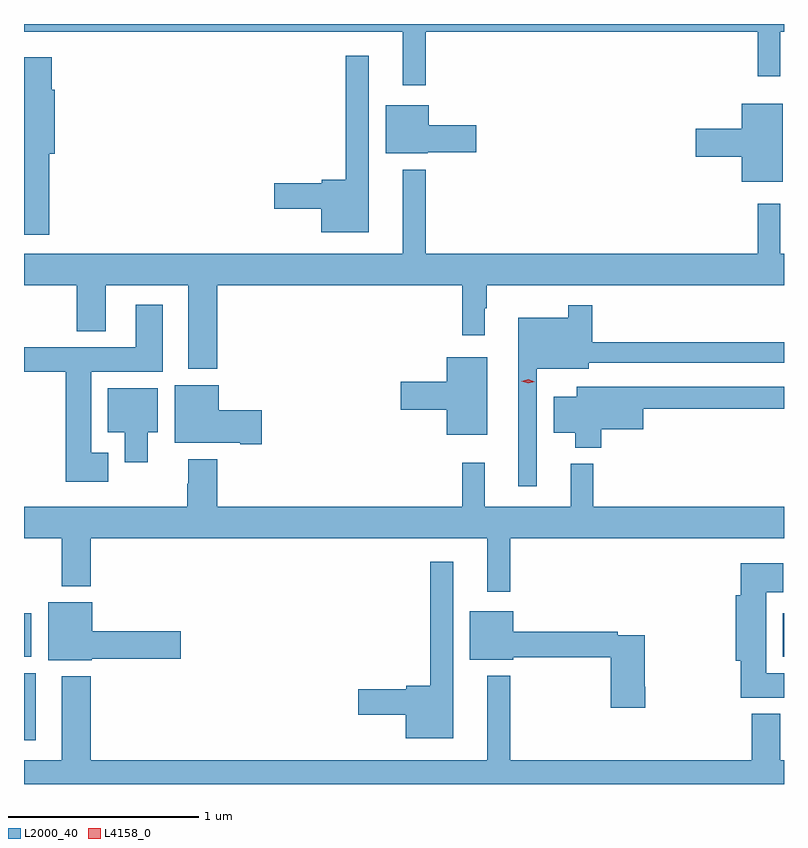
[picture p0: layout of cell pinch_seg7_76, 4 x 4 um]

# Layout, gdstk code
import gdstk
lib = gdstk.Library(unit=1e-6, precision=1e-09)
def R(c, l, rs):  # rectangles x0, y0, x1, y1
    for r in rs: c.add(gdstk.rectangle(r[:2], r[2:], *l))
def P(c, l, *ps):  # polygons
    for p in ps: c.add(gdstk.Polygon(p, *l))
L2000_40 = (2000, 40)
L4158_0 = (4158, 0)

pinch_seg7_76 = lib.new_cell('pinch_seg7_76')
R(pinch_seg7_76, L2000_40, [(982.756,1039.512,982.819,1039.864), (982.756,1039.952,982.795,1040.182), (986.75,1039.952,986.756,1040.182)])
P(pinch_seg7_76, L2000_40, [(984.871,1043.24),(986.617,1043.24),(986.617,1043.007),(986.735,1043.007),(986.735,1043.24),(986.756,1043.24),(986.756,1043.282),(982.756,1043.282),(982.756,1043.24),(984.749,1043.24),(984.749,1042.959),(984.871,1042.959)],
  [(984.571,1043.116),(984.45,1043.116),(984.45,1042.463),(984.324,1042.463),(984.324,1042.445),(984.072,1042.445),(984.072,1042.31),(984.32,1042.31),(984.32,1042.187),(984.571,1042.187)],
  [(982.888,1042.599),(982.919,1042.599),(982.919,1042.935),(982.901,1042.935),(982.901,1043.107),(982.756,1043.107),(982.756,1042.173),(982.888,1042.173)],
  [(986.749,1042.861),(986.534,1042.861),(986.534,1042.73),(986.292,1042.73),(986.292,1042.583),(986.534,1042.583),(986.534,1042.451),(986.749,1042.451)],
  [(984.882,1042.607),(985.135,1042.607),(985.135,1042.749),(984.886,1042.749),(984.886,1042.855),(984.659,1042.855),(984.659,1042.601),(984.882,1042.601)],
  [(983.774,1041.908),(985.063,1041.908),(985.063,1041.645),(985.18,1041.645),(985.18,1041.785),(985.192,1041.785),(985.192,1041.908),(986.756,1041.908),(986.756,1042.072),(986.736,1042.072),(986.736,1042.336),(986.617,1042.336),(986.617,1042.072),(984.871,1042.072),(984.871,1042.516),(984.749,1042.516),(984.749,1042.072),(982.756,1042.072),(982.756,1041.908),(983.033,1041.908),(983.033,1041.665),(983.185,1041.665),(983.185,1041.908),(983.621,1041.908),(983.621,1041.467),(983.774,1041.467)],
  [(983.2,1041.025),(983.11,1041.025),(983.11,1041.452),(983.485,1041.452),(983.485,1041.805),(983.345,1041.805),(983.345,1041.58),(982.756,1041.58),(982.756,1041.451),(982.976,1041.451),(982.976,1040.873),(983.2,1040.873)],
  [(985.455,1041.467),(985.729,1041.467),(985.729,1041.498),(986.756,1041.498),(986.756,1041.607),(985.748,1041.607),(985.748,1041.802),(985.62,1041.802),(985.62,1041.736),(985.358,1041.736),(985.358,1040.85),(985.455,1040.85)],
  [(985.195,1041.529),(984.98,1041.529),(984.98,1041.398),(984.738,1041.398),(984.738,1041.251),(984.98,1041.251),(984.98,1041.119),(985.195,1041.119)],
  [(984.007,1041.248),(983.782,1041.248),(983.782,1041.382),(983.549,1041.382),(983.549,1041.077),(983.894,1041.077),(983.894,1041.07),(984.007,1041.07)],
  [(985.793,1041.149),(986.014,1041.149),(986.014,1041.256),(986.756,1041.256),(986.756,1041.372),(985.91,1041.372),(985.91,1041.373),(985.664,1041.373),(985.664,1041.319),(985.544,1041.319),(985.544,1041.131),(985.658,1041.131),(985.658,1041.053),(985.793,1041.053)],
  [(983.407,1041.134),(983.461,1041.134),(983.461,1041.364),(983.198,1041.364),(983.198,1041.134),(983.285,1041.134),(983.285,1040.976),(983.407,1040.976)],
  [(985.315,1040.576),(986.756,1040.576),(986.756,1040.74),(985.751,1040.74),(985.751,1040.968),(985.634,1040.968),(985.634,1040.74),(985.181,1040.74),(985.181,1040.974),(985.063,1040.974),(985.063,1040.74),(983.774,1040.74),(983.774,1040.992),(983.621,1040.992),(983.621,1040.861),(983.614,1040.861),(983.614,1040.74),(982.756,1040.74),(982.756,1040.576),(982.955,1040.576),(982.955,1040.324),(983.108,1040.324),(983.108,1040.576),(985.193,1040.576),(985.193,1040.295),(985.315,1040.295)],
  [(985.015,1040.452),(984.894,1040.452),(984.894,1039.799),(984.768,1039.799),(984.768,1039.781),(984.516,1039.781),(984.516,1039.646),(984.764,1039.646),(984.764,1039.523),(985.015,1039.523)],
  [(986.756,1039.864),(986.662,1039.864),(986.662,1040.291),(986.752,1040.291),(986.752,1040.443),(986.528,1040.443),(986.528,1040.275),(986.501,1040.275),(986.501,1039.931),(986.528,1039.931),(986.528,1039.736),(986.756,1039.736)],
  [(983.112,1039.94),(983.581,1039.94),(983.581,1040.087),(983.116,1040.087),(983.116,1040.239),(982.883,1040.239),(982.883,1039.934),(983.112,1039.934)],
  [(986.027,1039.795),(986.022,1039.795),(986.022,1040.064),(985.88,1040.064),(985.88,1040.084),(985.33,1040.084),(985.33,1040.191),(985.103,1040.191),(985.103,1039.937),(985.33,1039.937),(985.33,1039.948),(985.844,1039.948),(985.844,1039.683),(986.027,1039.683)],
  [(982.756,1039.282),(986.756,1039.282),(986.756,1039.408),(986.737,1039.408),(986.737,1039.651),(986.585,1039.651),(986.585,1039.408),(985.315,1039.408),(985.315,1039.852),(985.193,1039.852),(985.193,1039.408),(983.108,1039.408),(983.108,1039.849),(982.955,1039.849),(982.955,1039.408),(982.756,1039.408)])
P(pinch_seg7_76, L4158_0, [(985.409,1041.391),(985.374,1041.402),(985.373,1041.402),(985.374,1041.402),(985.41,1041.411),(985.445,1041.399),(985.445,1041.399),(985.445,1041.399)])

lib.write_gds('pinch_seg7_76.gds')
